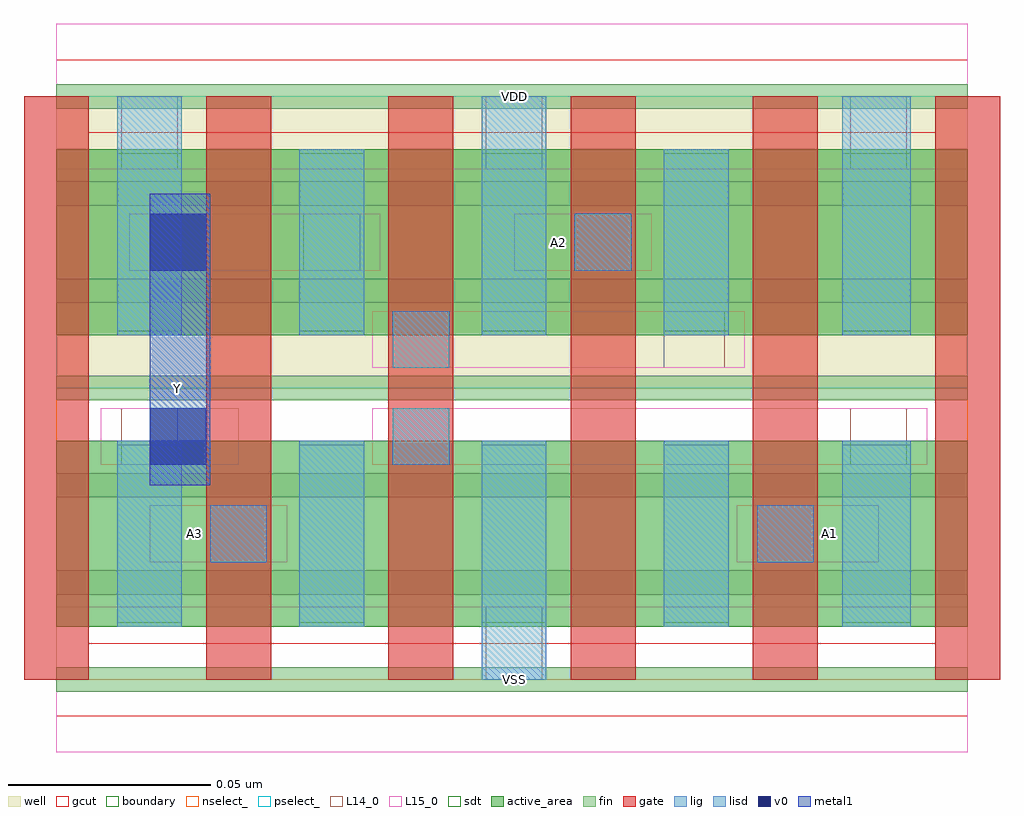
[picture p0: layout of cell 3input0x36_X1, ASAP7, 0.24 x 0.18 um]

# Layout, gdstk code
import gdstk
lib = gdstk.Library(unit=1e-6, precision=1e-09)
def R(c, l, rs):  # rectangles x0, y0, x1, y1
    for r in rs: c.add(gdstk.rectangle(r[:2], r[2:], *l))
def A(c, l, x, y, w, h, nx, ny, dx, dy):  # array of equal rectangles
    R(c, l, [(x+i*dx, y+j*dy, x+i*dx+w, y+j*dy+h) for i in range(nx) for j in range(ny)])
def P(c, l, *ps):  # polygons
    for p in ps: c.add(gdstk.Polygon(p, *l))
well = (1, 0)
fin = (2, 0)
gate = (7, 0)
gcut = (10, 0)
active_area = (11, 0)
nselect_ = (12, 0)
pselect_ = (13, 0)
L14_0 = (14, 0)
L15_0 = (15, 0)
lig = (16, 0)
lisd = (17, 0)
v0 = (18, 0)
metal1 = (19, 0)
sdt = (88, 0)
boundary = (100, 0)

c_3input0x36_x1 = lib.new_cell('3input0x36_X1')
R(c_3input0x36_x1, well, [(0,0.072,0.225,0.144)])
A(c_3input0x36_x1, fin, 0, -0.003, 0.225, 0.006, 1, 7, 0, 0.024)
A(c_3input0x36_x1, gate, -0.008, 0, 0.016, 0.144, 6, 1, 0.045, 0)
P(c_3input0x36_x1, gcut, [(0,-0.009),(0,0),(-0.008,0),(-0.008,0.135),(0.008,0.135),(0.008,0.009),(0.217,0.009),(0.217,0.135),(-0.008,0.135),(-0.008,0.144),(0,0.144),(0,0.153),(0.225,0.153),(0.225,0.144),(0.233,0.144),(0.233,0),(0.225,0),(0.225,-0.009)])
R(c_3input0x36_x1, active_area, [(0,0.013,0.225,0.059), (0,0.085,0.225,0.131)])
R(c_3input0x36_x1, nselect_, [(0,0,0.225,0.072)])
R(c_3input0x36_x1, pselect_, [(0,0.072,0.225,0.144)])
A(c_3input0x36_x1, L14_0, 0.016, 0.126, 0.014, 0.018, 3, 1, 0.09, 0)
R(c_3input0x36_x1, L14_0, [(0.106,0,0.12,0.018), (0.038,0.029,0.052,0.043), (0.173,0.029,0.187,0.043), (0.016,0.053,0.03,0.067), (0.083,0.053,0.097,0.067), (0.196,0.053,0.21,0.067), (0.083,0.077,0.097,0.091), (0.15,0.077,0.165,0.091), (0.061,0.101,0.075,0.115), (0.128,0.101,0.142,0.115)])
R(c_3input0x36_x1, L15_0, [(0,-0.018,0.225,0.018), (0.023,0.029,0.057,0.043), (0.168,0.029,0.203,0.043), (0.011,0.053,0.045,0.067), (0.078,0.053,0.215,0.067), (0.078,0.077,0.17,0.091), (0.018,0.101,0.08,0.115), (0.113,0.101,0.147,0.115), (0,0.126,0.225,0.162)])
R(c_3input0x36_x1, lig, [(0.038,0.029,0.052,0.043), (0.173,0.029,0.187,0.043), (0.083,0.053,0.097,0.067), (0.083,0.077,0.097,0.091), (0.128,0.101,0.142,0.115)])
R(c_3input0x36_x1, lisd, [(0.105,0,0.121,0.059), (0.015,0.013,0.031,0.059), (0.06,0.013,0.076,0.059), (0.15,0.013,0.166,0.059), (0.194,0.013,0.211,0.059), (0.015,0.085,0.031,0.144), (0.06,0.085,0.076,0.131), (0.105,0.085,0.121,0.144), (0.15,0.085,0.166,0.131), (0.194,0.085,0.211,0.144)])
R(c_3input0x36_x1, v0, [(0.023,0.053,0.037,0.067), (0.023,0.101,0.037,0.115)])
R(c_3input0x36_x1, metal1, [(0.023,0.048,0.038,0.12)])
A(c_3input0x36_x1, sdt, 0.015, 0.014, 0.016, 0.044, 4, 2, 0.045, 0.072)
R(c_3input0x36_x1, sdt, [(0.194,0.014,0.211,0.058), (0.194,0.086,0.211,0.13)])
R(c_3input0x36_x1, boundary, [(0,0,0.225,0.144)])
c_3input0x36_x1.add(gdstk.Label('A3', (0.034,0.036), layer=15, texttype=251))
c_3input0x36_x1.add(gdstk.Label('VSS', (0.113,0), layer=15, texttype=251))
c_3input0x36_x1.add(gdstk.Label('VDD', (0.113,0.144), layer=15, texttype=251))
c_3input0x36_x1.add(gdstk.Label('A1', (0.191,0.036), layer=15, texttype=251))
c_3input0x36_x1.add(gdstk.Label('VSS', (0.113,0), layer=15, texttype=251))
c_3input0x36_x1.add(gdstk.Label('VDD', (0.113,0.144), layer=15, texttype=251))
c_3input0x36_x1.add(gdstk.Label('VSS', (0.113,0), layer=15, texttype=251))
c_3input0x36_x1.add(gdstk.Label('VDD', (0.113,0.144), layer=15, texttype=251))
c_3input0x36_x1.add(gdstk.Label('A2', (0.124,0.108), layer=15, texttype=251))
c_3input0x36_x1.add(gdstk.Label('VSS', (0.113,0), layer=15, texttype=251))
c_3input0x36_x1.add(gdstk.Label('VDD', (0.113,0.144), layer=15, texttype=251))
c_3input0x36_x1.add(gdstk.Label('VSS', (0.113,0), layer=3, texttype=251))
c_3input0x36_x1.add(gdstk.Label('VSS', (0.113,0), layer=3, texttype=251))
c_3input0x36_x1.add(gdstk.Label('VSS', (0.113,0), layer=3, texttype=251))
c_3input0x36_x1.add(gdstk.Label('VSS', (0.113,0), layer=3, texttype=251))
c_3input0x36_x1.add(gdstk.Label('VDD', (0.113,0.144), layer=1, texttype=251))
c_3input0x36_x1.add(gdstk.Label('VDD', (0.113,0.144), layer=1, texttype=251))
c_3input0x36_x1.add(gdstk.Label('VDD', (0.113,0.144), layer=1, texttype=251))
c_3input0x36_x1.add(gdstk.Label('VDD', (0.113,0.144), layer=1, texttype=251))
c_3input0x36_x1.add(gdstk.Label('Y', (0.03,0.072), layer=19, texttype=251))

lib.write_gds('3input0x36_X1.gds')
